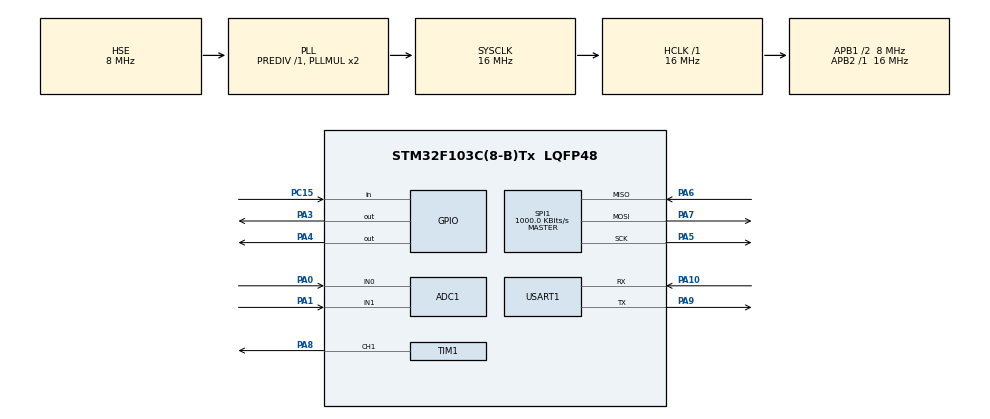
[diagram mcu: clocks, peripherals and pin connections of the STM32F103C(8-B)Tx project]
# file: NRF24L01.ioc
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ADC1.Channel-0\#ChannelRegularConversion=ADC_CHANNEL_0
ADC1.Channel-1\#ChannelRegularConversion=ADC_CHANNEL_1
ADC1.NbrOfConversion=2
ADC1.NbrOfConversionFlag=1
ADC1.Rank-0\#ChannelRegularConversion=1
ADC1.Rank-1\#ChannelRegularConversion=2
ADC1.SamplingTime-0\#ChannelRegularConversion=ADC_SAMPLETIME_1CYCLE_5
ADC1.SamplingTime-1\#ChannelRegularConversion=ADC_SAMPLETIME_1CYCLE_5
ADC1.master=1
Dma.ADC1.0.Direction=DMA_PERIPH_TO_MEMORY
Dma.ADC1.0.Instance=DMA1_Channel1
Dma.ADC1.0.MemDataAlignment=DMA_MDATAALIGN_HALFWORD
Dma.ADC1.0.MemInc=DMA_MINC_ENABLE
Dma.ADC1.0.Mode=DMA_NORMAL
Dma.ADC1.0.PeriphDataAlignment=DMA_PDATAALIGN_HALFWORD
Dma.ADC1.0.PeriphInc=DMA_PINC_DISABLE
Dma.ADC1.0.Priority=DMA_PRIORITY_LOW
Dma.Request0=ADC1
Mcu.Family=STM32F1
Mcu.Name=STM32F103C(8-B)Tx
Mcu.Package=LQFP48
NVIC.DMA1_Channel1_IRQn=true\:0\:0\:false\:false\:true\:false\:true\:true
NVIC.PriorityGroup=NVIC_PRIORITYGROUP_4
PA0-WKUP.Signal=ADCx_IN0
PA1.Signal=ADCx_IN1
PA10.Mode=Asynchronous
PA10.Signal=USART1_RX
PA3.Signal=GPIO_Output
PA4.Signal=GPIO_Output
PA5.Mode=Full_Duplex_Master
PA5.Signal=SPI1_SCK
PA6.Mode=Full_Duplex_Master
PA6.Signal=SPI1_MISO
PA7.Mode=Full_Duplex_Master
PA7.Signal=SPI1_MOSI
PA8.Signal=S_TIM1_CH1
PA9.Mode=Asynchronous
PA9.Signal=USART1_TX
PC15-OSC32_OUT.GPIO_PuPd=GPIO_PULLUP
PC15-OSC32_OUT.Signal=GPIO_Input
PD0-OSC_IN.Mode=HSE-External-Oscillator
PD0-OSC_IN.Signal=RCC_OSC_IN
PD1-OSC_OUT.Mode=HSE-External-Oscillator
PD1-OSC_OUT.Signal=RCC_OSC_OUT
ProjectManager.HeapSize=0x200
ProjectManager.StackSize=0x400
ProjectManager.TargetToolchain=STM32CubeIDE
RCC.AHBFreq_Value=16000000
RCC.APB1CLKDivider=RCC_HCLK_DIV2
RCC.APB1Freq_Value=8000000
RCC.APB1TimFreq_Value=16000000
RCC.APB2Freq_Value=16000000
RCC.APB2TimFreq_Value=16000000
RCC.HCLKFreq_Value=16000000
RCC.PLLSourceVirtual=RCC_PLLSOURCE_HSE
RCC.SYSCLKFreq_VALUE=16000000
RCC.SYSCLKSource=RCC_SYSCLKSOURCE_PLLCLK
RCC.USBFreq_Value=16000000
SH.ADCx_IN0.0=ADC1_IN0,IN0
SH.ADCx_IN1.0=ADC1_IN1,IN1
SH.S_TIM1_CH1.0=TIM1_CH1,PWM Generation1 CH1
SPI1.BaudRatePrescaler=SPI_BAUDRATEPRESCALER_16
SPI1.CalculateBaudRate=1000.0 KBits/s
SPI1.Direction=SPI_DIRECTION_2LINES
SPI1.Mode=SPI_MODE_MASTER
SPI1.VirtualType=VM_MASTER
TIM1.Channel-PWM\ Generation1\ CH1=TIM_CHANNEL_1
USART1.VirtualMode=VM_ASYNC
VP_SYS_VS_ND.Mode=No_Debug
VP_TIM1_VS_ClockSourceINT.Mode=Internal
board=custom

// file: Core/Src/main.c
/* USER CODE BEGIN Header */
/**
  ******************************************************************************
  * @file           : main.c
  * @brief          : Main program body
  ******************************************************************************
  * @attention
  *
  * Copyright (c) 2023 STMicroelectronics.
  * All rights reserved.
  *
  * This software is licensed under terms that can be found in the LICENSE file
  * in the root directory of this software component.
  * If no LICENSE file comes with this software, it is provided AS-IS.
  *
  ******************************************************************************
  */
/* USER CODE END Header */
#include "main.h"

/* USER CODE BEGIN Includes */
#include <stdio.h>
#include <string.h>
#include "nRF24L01.h"
#include "servo.h"
#include "utility.h"
/* USER CODE END Includes */

/* USER CODE BEGIN PM */
#define TX_MODE		1
#define RX_MODE 	0

// Use this to define the role for the model
#define ROLE		RX_MODE

// Use this to define the channel
#define CHANNEL		0

// Use this to define the address to send/receive on
#define ADDRESS		"12345"

/* USER CODE END PM */

ADC_HandleTypeDef hadc1;
DMA_HandleTypeDef hdma_adc1;

SPI_HandleTypeDef hspi1;

TIM_HandleTypeDef htim1;

UART_HandleTypeDef huart1;

/* USER CODE BEGIN PV */
nRF24Handle radio1;

SERVO_HandleTypeDef servo1;

// Structure to represent the current state of the joystick
typedef struct tagJoystick {
	uint16_t iVX;
	uint16_t iVY;
	uint8_t iSW;
} Joystick;

// Structure representing the first joystick
Joystick joystick1;

// Holds the current input value coming from the joystick
volatile int adcConversionComplete = 0;
volatile uint16_t joystickResultsADC[2];

/* USER CODE END PV */

void SystemClock_Config(void);
static void MX_GPIO_Init(void);
static void MX_DMA_Init(void);
static void MX_SPI1_Init(void);
static void MX_USART1_UART_Init(void);
static void MX_ADC1_Init(void);
static void MX_TIM1_Init(void);
/* USER CODE BEGIN PFP */

static void RADIO1_Init(void);
static void SERVO1_Init(void);

#ifdef __GNUC__
#define PUTCHAR_PROTOTYPE int __io_putchar(int ch)
#else
#define PUTCHAR_PROTOTYPE int fputc(int ch, FILE *f)
#endif

PUTCHAR_PROTOTYPE
{
  HAL_UART_Transmit(&huart1, (uint8_t *)&ch, 1, HAL_MAX_DELAY);
  return ch;
}
/* USER CODE END PFP */

/* USER CODE BEGIN 0 */

// Get the current state of the joystick and update the struct accordingly
void ReadJoystickState(){
	// GET ADC INPUT

	// Read from the ADC
	HAL_ADC_Start_DMA(&hadc1, (uint32_t*)joystickResultsADC, 2);

	// Loop until a conversion is complete
	while(!adcConversionComplete){}

	// Reset the flag
	adcConversionComplete = 0;

	// GET SWITCH BUTTON INPUT

	// Read the state of the switch button
	uint8_t iSWState = HAL_GPIO_ReadPin(GPIOC, GPIO_PIN_15);

	// Print to the console
	//printf("Val 1: %d, Val 2: %d, SW: %d\n\r", joystickResultsADC[0], joystickResultsADC[1], iSWState);

	// Set the values in the struct accordingly
	joystick1.iVX = joystickResultsADC[0];
	joystick1.iVY = joystickResultsADC[1];
	joystick1.iSW = iSWState;
}

void TestShit(){
	NRF24_SetChannel(&radio1, 24);

	NRF24_SetPipeStatus(&radio1, NRF24_PIPE1, NRF24_PIPE_ENABLE);

	NRF24_SetPA(&radio1, NRF24_PA_MIN);

	NRF24_SetDataRate(&radio1, NRF24_DATARATE_250KBPS);

	NRF24_SetAddressWidth(&radio1, NRF24_ADDRESSWIDTH_5BYTES);

	NRF24_SetAutoAckAllPipes(&radio1, NRF24_AA_ENABLE);

	NRF24_SetAutoAck(&radio1, NRF24_PIPE4, NRF24_AA_DISABLE);

	printf("*********** Test shit **********\n\r");

	NRF24_PrintDebugInfo(&radio1);
}

/* USER CODE END 0 */

int main(void)
{

  /* MCU Configuration--------------------------------------------------------*/

  /* Reset of all peripherals, Initializes the Flash interface and the Systick. */
  HAL_Init();

  /* USER CODE BEGIN Init */
	setbuf(stdout, NULL);

  /* USER CODE END Init */

  /* Configure the system clock */
  SystemClock_Config();

  /* Initialize all configured peripherals */
  MX_GPIO_Init();
  MX_DMA_Init();
  MX_SPI1_Init();
  MX_USART1_UART_Init();
  MX_ADC1_Init();
  MX_TIM1_Init();
  /* USER CODE BEGIN 2 */
	RADIO1_Init();
	SERVO1_Init();

	// Set the channel, Power amplification, and data rate
	NRF24_SetDataRate(&radio1, NRF24_DATARATE_250KBPS);
	NRF24_SetPA(&radio1, NRF24_PA_MIN);

	// If we are configured for Transmit mode
	if(ROLE == TX_MODE){
		// Set up in TX Mode
		NRF24_TXMode(&radio1, (uint8_t*)ADDRESS, CHANNEL);
	}
	// Or if we are configured for Receive mode
	else if (ROLE == RX_MODE){
		// Configure in RX mode with the channel we'd like to receive on
		NRF24_RXMode(&radio1, (uint8_t*)ADDRESS, CHANNEL);
		NRF24_SetPayloadWidth(&radio1, NRF24_PIPE1, sizeof(joystick1));
	}

	// Calibrate the ADC
	HAL_ADCEx_Calibration_Start(&hadc1);

  /* USER CODE END 2 */

  /* Infinite loop */
	while (1)
	{

    /* USER CODE BEGIN 3 */

		// If we are in Transmit mode
		if(ROLE == TX_MODE){
			// Get the current state of the joystick
			ReadJoystickState();

			// Print info about the struct
			printf("Vx: %d, Vy: %d, SW: %d\n\r", joystick1.iVX, joystick1.iVY, joystick1.iSW);

			// Transmit the current state of the joystick
			NRF24_Transmit(&radio1, (uint8_t*)(&joystick1), sizeof(joystick1));

			// Wait a second
			HAL_Delay(10);

			if(DEBUG_PRINT){
				printf("Info after transmit:\n\r");
				NRF24_PrintDebugInfo(&radio1);

				// Wait for a second before the next transmission
				HAL_Delay(1000);
			}
		}
		// Or if we are in Receive mode
		else if (ROLE == RX_MODE){
			// Receive the data and store it in the buffer
			NRF24_Receive(&radio1, (uint8_t*)(&joystick1));

			// Display the values
			printf("Vx: %d, Vy: %d, SW: %d\n\r", joystick1.iVX, joystick1.iVY, joystick1.iSW);

			// Get the angle that we want to move the joystick to
			float fAngle = map(joystick1.iVX, 0, 0xFFF, 0, 180);

			// Move the servo to the specified spot
			SERVO_MoveTo(&servo1, fAngle);

			// Wait a second
			HAL_Delay(5);

			if(DEBUG_PRINT){
				printf("Info after receive:\n\r");
				NRF24_PrintDebugInfo(&radio1);

				// Delay for a bit
				HAL_Delay(1000);
			}
		}

	}
  /* USER CODE END 3 */
}

void SystemClock_Config(void)
{
  RCC_OscInitTypeDef RCC_OscInitStruct = {0};
  RCC_ClkInitTypeDef RCC_ClkInitStruct = {0};
  RCC_PeriphCLKInitTypeDef PeriphClkInit = {0};

  /** Initializes the RCC Oscillators according to the specified parameters
  * in the RCC_OscInitTypeDef structure.
  */
  RCC_OscInitStruct.OscillatorType = RCC_OSCILLATORTYPE_HSE;
  RCC_OscInitStruct.HSEState = RCC_HSE_ON;
  RCC_OscInitStruct.HSEPredivValue = RCC_HSE_PREDIV_DIV1;
  RCC_OscInitStruct.HSIState = RCC_HSI_ON;
  RCC_OscInitStruct.PLL.PLLState = RCC_PLL_ON;
  RCC_OscInitStruct.PLL.PLLSource = RCC_PLLSOURCE_HSE;
  RCC_OscInitStruct.PLL.PLLMUL = RCC_PLL_MUL2;
  if (HAL_RCC_OscConfig(&RCC_OscInitStruct) != HAL_OK)
  {
    Error_Handler();
  }

  /** Initializes the CPU, AHB and APB buses clocks
  */
  RCC_ClkInitStruct.ClockType = RCC_CLOCKTYPE_HCLK|RCC_CLOCKTYPE_SYSCLK
                              |RCC_CLOCKTYPE_PCLK1|RCC_CLOCKTYPE_PCLK2;
  RCC_ClkInitStruct.SYSCLKSource = RCC_SYSCLKSOURCE_PLLCLK;
  RCC_ClkInitStruct.AHBCLKDivider = RCC_SYSCLK_DIV1;
  RCC_ClkInitStruct.APB1CLKDivider = RCC_HCLK_DIV2;
  RCC_ClkInitStruct.APB2CLKDivider = RCC_HCLK_DIV1;

  if (HAL_RCC_ClockConfig(&RCC_ClkInitStruct, FLASH_LATENCY_0) != HAL_OK)
  {
    Error_Handler();
  }
  PeriphClkInit.PeriphClockSelection = RCC_PERIPHCLK_ADC;
  PeriphClkInit.AdcClockSelection = RCC_ADCPCLK2_DIV2;
  if (HAL_RCCEx_PeriphCLKConfig(&PeriphClkInit) != HAL_OK)
  {
    Error_Handler();
  }
}

static void MX_ADC1_Init(void)
{

  ADC_ChannelConfTypeDef sConfig = {0};

  /** Common config
  */
  hadc1.Instance = ADC1;
  hadc1.Init.ScanConvMode = ADC_SCAN_ENABLE;
  hadc1.Init.ContinuousConvMode = DISABLE;
  hadc1.Init.DiscontinuousConvMode = DISABLE;
  hadc1.Init.ExternalTrigConv = ADC_SOFTWARE_START;
  hadc1.Init.DataAlign = ADC_DATAALIGN_RIGHT;
  hadc1.Init.NbrOfConversion = 2;
  if (HAL_ADC_Init(&hadc1) != HAL_OK)
  {
    Error_Handler();
  }

  /** Configure Regular Channel
  */
  sConfig.Channel = ADC_CHANNEL_0;
  sConfig.Rank = ADC_REGULAR_RANK_1;
  sConfig.SamplingTime = ADC_SAMPLETIME_1CYCLE_5;
  if (HAL_ADC_ConfigChannel(&hadc1, &sConfig) != HAL_OK)
  {
    Error_Handler();
  }

  /** Configure Regular Channel
  */
  sConfig.Channel = ADC_CHANNEL_1;
  sConfig.Rank = ADC_REGULAR_RANK_2;
  if (HAL_ADC_ConfigChannel(&hadc1, &sConfig) != HAL_OK)
  {
    Error_Handler();
  }

}

static void MX_SPI1_Init(void)
{

  /* SPI1 parameter configuration*/
  hspi1.Instance = SPI1;
  hspi1.Init.Mode = SPI_MODE_MASTER;
  hspi1.Init.Direction = SPI_DIRECTION_2LINES;
  hspi1.Init.DataSize = SPI_DATASIZE_8BIT;
  hspi1.Init.CLKPolarity = SPI_POLARITY_LOW;
  hspi1.Init.CLKPhase = SPI_PHASE_1EDGE;
  hspi1.Init.NSS = SPI_NSS_SOFT;
  hspi1.Init.BaudRatePrescaler = SPI_BAUDRATEPRESCALER_16;
  hspi1.Init.FirstBit = SPI_FIRSTBIT_MSB;
  hspi1.Init.TIMode = SPI_TIMODE_DISABLE;
  hspi1.Init.CRCCalculation = SPI_CRCCALCULATION_DISABLE;
  hspi1.Init.CRCPolynomial = 10;
  if (HAL_SPI_Init(&hspi1) != HAL_OK)
  {
    Error_Handler();
  }

}

static void MX_TIM1_Init(void)
{

  TIM_ClockConfigTypeDef sClockSourceConfig = {0};
  TIM_MasterConfigTypeDef sMasterConfig = {0};
  TIM_OC_InitTypeDef sConfigOC = {0};
  TIM_BreakDeadTimeConfigTypeDef sBreakDeadTimeConfig = {0};

  htim1.Instance = TIM1;
  htim1.Init.Prescaler = 0;
  htim1.Init.CounterMode = TIM_COUNTERMODE_UP;
  htim1.Init.Period = 65535;
  htim1.Init.ClockDivision = TIM_CLOCKDIVISION_DIV1;
  htim1.Init.RepetitionCounter = 0;
  htim1.Init.AutoReloadPreload = TIM_AUTORELOAD_PRELOAD_DISABLE;
  if (HAL_TIM_Base_Init(&htim1) != HAL_OK)
  {
    Error_Handler();
  }
  sClockSourceConfig.ClockSource = TIM_CLOCKSOURCE_INTERNAL;
  if (HAL_TIM_ConfigClockSource(&htim1, &sClockSourceConfig) != HAL_OK)
  {
    Error_Handler();
  }
  if (HAL_TIM_PWM_Init(&htim1) != HAL_OK)
  {
    Error_Handler();
  }
  sMasterConfig.MasterOutputTrigger = TIM_TRGO_RESET;
  sMasterConfig.MasterSlaveMode = TIM_MASTERSLAVEMODE_DISABLE;
  if (HAL_TIMEx_MasterConfigSynchronization(&htim1, &sMasterConfig) != HAL_OK)
  {
    Error_Handler();
  }
  sConfigOC.OCMode = TIM_OCMODE_PWM1;
  sConfigOC.Pulse = 0;
  sConfigOC.OCPolarity = TIM_OCPOLARITY_HIGH;
  sConfigOC.OCNPolarity = TIM_OCNPOLARITY_HIGH;
  sConfigOC.OCFastMode = TIM_OCFAST_DISABLE;
  sConfigOC.OCIdleState = TIM_OCIDLESTATE_RESET;
  sConfigOC.OCNIdleState = TIM_OCNIDLESTATE_RESET;
  if (HAL_TIM_PWM_ConfigChannel(&htim1, &sConfigOC, TIM_CHANNEL_1) != HAL_OK)
  {
    Error_Handler();
  }
  sBreakDeadTimeConfig.OffStateRunMode = TIM_OSSR_DISABLE;
  sBreakDeadTimeConfig.OffStateIDLEMode = TIM_OSSI_DISABLE;
  sBreakDeadTimeConfig.LockLevel = TIM_LOCKLEVEL_OFF;
  sBreakDeadTimeConfig.DeadTime = 0;
  sBreakDeadTimeConfig.BreakState = TIM_BREAK_DISABLE;
  sBreakDeadTimeConfig.BreakPolarity = TIM_BREAKPOLARITY_HIGH;
  sBreakDeadTimeConfig.AutomaticOutput = TIM_AUTOMATICOUTPUT_DISABLE;
  if (HAL_TIMEx_ConfigBreakDeadTime(&htim1, &sBreakDeadTimeConfig) != HAL_OK)
  {
    Error_Handler();
  }
  HAL_TIM_MspPostInit(&htim1);

}

static void MX_USART1_UART_Init(void)
{

  huart1.Instance = USART1;
  huart1.Init.BaudRate = 115200;
  huart1.Init.WordLength = UART_WORDLENGTH_8B;
  huart1.Init.StopBits = UART_STOPBITS_1;
  huart1.Init.Parity = UART_PARITY_NONE;
  huart1.Init.Mode = UART_MODE_TX_RX;
  huart1.Init.HwFlowCtl = UART_HWCONTROL_NONE;
  huart1.Init.OverSampling = UART_OVERSAMPLING_16;
  if (HAL_UART_Init(&huart1) != HAL_OK)
  {
    Error_Handler();
  }

}

static void MX_DMA_Init(void)
{

  /* DMA controller clock enable */
  __HAL_RCC_DMA1_CLK_ENABLE();

  /* DMA interrupt init */
  /* DMA1_Channel1_IRQn interrupt configuration */
  HAL_NVIC_SetPriority(DMA1_Channel1_IRQn, 0, 0);
  HAL_NVIC_EnableIRQ(DMA1_Channel1_IRQn);

}

static void MX_GPIO_Init(void)
{
  GPIO_InitTypeDef GPIO_InitStruct = {0};

  /* GPIO Ports Clock Enable */
  __HAL_RCC_GPIOC_CLK_ENABLE();
  __HAL_RCC_GPIOD_CLK_ENABLE();
  __HAL_RCC_GPIOA_CLK_ENABLE();

  /*Configure GPIO pin Output Level */
  HAL_GPIO_WritePin(GPIOA, GPIO_PIN_3|GPIO_PIN_4, GPIO_PIN_RESET);

  /*Configure GPIO pin : PC15 */
  GPIO_InitStruct.Pin = GPIO_PIN_15;
  GPIO_InitStruct.Mode = GPIO_MODE_INPUT;
  GPIO_InitStruct.Pull = GPIO_PULLUP;
  HAL_GPIO_Init(GPIOC, &GPIO_InitStruct);

  /*Configure GPIO pins : PA3 PA4 */
  GPIO_InitStruct.Pin = GPIO_PIN_3|GPIO_PIN_4;
  GPIO_InitStruct.Mode = GPIO_MODE_OUTPUT_PP;
  GPIO_InitStruct.Pull = GPIO_NOPULL;
  GPIO_InitStruct.Speed = GPIO_SPEED_FREQ_LOW;
  HAL_GPIO_Init(GPIOA, &GPIO_InitStruct);

}

/* USER CODE BEGIN 4 */

static void RADIO1_Init(void)
{
	radio1.CE_GPIO_Port = GPIOA;
	radio1.CE_Pin = GPIO_PIN_3;
	radio1.CSN_GPIO_Port = GPIOA;
	radio1.CSN_Pin = GPIO_PIN_4;
	radio1.SPI = &hspi1;

	NRF24_Init(&radio1);
}

/**
  * @brief Servo initialization Function
  * @param None
  * @retval None
  */
static void SERVO1_Init(void)
{
	servo1.SERVO_GPIO = GPIOA;
	servo1.SERVO_PIN = GPIO_PIN_8;
	servo1.TIM_Instance = TIM1;
	servo1.TIM_CCRx = &TIM1->CCR1;
	servo1.PWM_TIM_CH = TIM_CHANNEL_1;
	servo1.TIM_CLK = 16000000;
	servo1.fMinPulse = 0.5;
	servo1.fMaxPulse = 2.5;

	SERVO_Init(&servo1);
}

// Callback function for once an ADC conversion is complete
void HAL_ADC_ConvCpltCallback(ADC_HandleTypeDef* hadc){
	// Mark that we've successfully converted the ADC value
	adcConversionComplete = 1;
}

/* USER CODE END 4 */

void Error_Handler(void)
{
  __disable_irq();
  while (1)
  {
  }
}
